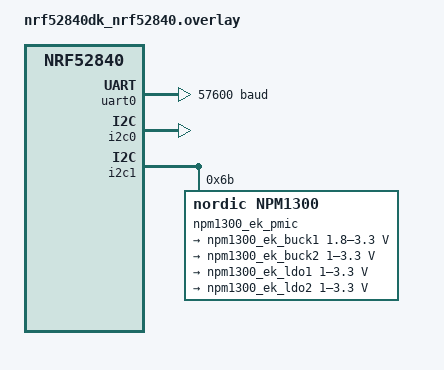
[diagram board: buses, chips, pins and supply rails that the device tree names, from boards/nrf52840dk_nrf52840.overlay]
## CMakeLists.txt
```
# SPDX-License-Identifier: Apache-2.0

cmake_minimum_required(VERSION 3.20.0)
set(BOARD_ROOT ${CMAKE_CURRENT_SOURCE_DIR})

find_package(Zephyr REQUIRED HINTS $ENV{ZEPHYR_BASE})
project(flow_meter)


target_include_directories(app PRIVATE src/Uart
                                        src/BLE
                                        src/Json
                                        src/RTC
                                        src/SYSTEM
                                        src/Timer
                                        src/PMIC
                                        src/Flash
                                        src/MESH)
                                        
target_sources(app PRIVATE  src/Uart/UartHandler.c
                            src/BLE/BleHandler.c
                            src/BLE/BleService.c
                            src/Json/cJSON.c
                            src/Json/Jsonhandler.c
                            src/RTC/RtcHandler.c
                            src/SYSTEM/SystemHandler.c
                            src/Timer/TimerHandler.c
                            src/Flash/FlashHandler.c
                            src/PMIC/PMICHandler.c
                            src/MESH/MeshHandler.c
                            src/MESH/MeshService.c
                            src/main.c)
```

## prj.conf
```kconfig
CONFIG_SERIAL=y
CONFIG_UART_INTERRUPT_DRIVEN=y
CONFIG_UART_USE_RUNTIME_CONFIGURE=y
CONFIG_CBPRINTF_FP_SUPPORT=y
CONFIG_NEWLIB_LIBC=y
CONFIG_NEWLIB_LIBC_FLOAT_PRINTF=y
CONFIG_CBPRINTF_COMPLETE=y
CONFIG_PM=y
CONFIG_PM_DEVICE=y

#I2C functions enabled
CONFIG_I2C=y

#Ble Configurations
CONFIG_BT=y
CONFIG_BT_PERIPHERAL=y
CONFIG_BT_CTLR_ADV_EXT=y
CONFIG_BT_EXT_ADV=y
CONFIG_BT_CTLR_ADV_DATA_LEN_MAX=225
CONFIG_BT_USER_DATA_LEN_UPDATE=y
CONFIG_BT_GAP_AUTO_UPDATE_CONN_PARAMS=n
CONFIG_HEAP_MEM_POOL_SIZE=12288
CONFIG_BT_BUF_ACL_RX_SIZE=488
CONFIG_BT_ATT_PREPARE_COUNT=2
CONFIG_BT_L2CAP_TX_MTU=484

CONFIG_BT_BUF_ACL_TX_COUNT=10
CONFIG_BT_BUF_ACL_TX_SIZE=488
CONFIG_BT_CTLR_DATA_LENGTH_MAX=251

#flash configurations
CONFIG_FLASH=y
CONFIG_FLASH_PAGE_LAYOUT=y

CONFIG_NVS=y
CONFIG_NRFX_TIMER1=y
CONFIG_REBOOT=y
CONFIG_MPU_ALLOW_FLASH_WRITE=y

#PMIC
CONFIG_NRF_FUEL_GAUGE=y
CONFIG_SENSOR=y
CONFIG_SENSOR_LOG_LEVEL_DBG=y

CONFIG_BT_DEVICE_NAME="VISENSE_TEST_MESH_FLOWMETER"
CONFIG_FLASH=y
CONFIG_FLASH_MAP=y
CONFIG_NVS=y
CONFIG_NVS_LOOKUP_CACHE=y
CONFIG_SETTINGS=y
CONFIG_SETTINGS_NVS_NAME_CACHE=y
CONFIG_HWINFO=y
CONFIG_DK_LIBRARY=y
CONFIG_PM_SINGLE_IMAGE=y
CONFIG_PM_PARTITION_SIZE_SETTINGS_STORAGE=0x8000
CONFIG_SOC_FLASH_NRF_PARTIAL_ERASE=y


# Bluetooth configuration
CONFIG_BT_COMPANY_ID=0x1234
CONFIG_BT_L2CAP_TX_BUF_COUNT=8
CONFIG_BT_OBSERVER=y
CONFIG_BT_SETTINGS=y

# Disable unused Bluetooth features
CONFIG_BT_CTLR_DUP_FILTER_LEN=0
CONFIG_BT_CTLR_LE_ENC=n
CONFIG_BT_PHY_UPDATE=n
CONFIG_BT_CTLR_CHAN_SEL_2=n
CONFIG_BT_CTLR_PRIVACY=n

# Bluetooth mesh configuration
CONFIG_BT_MESH=y
CONFIG_BT_MESH_RELAY=y
CONFIG_BT_MESH_FRIEND=y
CONFIG_BT_MESH_ADV_BUF_COUNT=13
CONFIG_BT_MESH_TX_SEG_MAX=22
CONFIG_BT_MESH_RX_SEG_MAX=22
CONFIG_BT_MESH_PB_GATT=y
CONFIG_BT_MESH_GATT_PROXY=y
CONFIG_BT_MESH_PROXY_USE_DEVICE_NAME=y
CONFIG_BT_MESH_DK_PROV=y
CONFIG_BT_MESH_SUBNET_COUNT=2
CONFIG_BT_MESH_APP_KEY_COUNT=3
CONFIG_BT_MESH_CRPL=10
CONFIG_BT_MESH_MSG_CACHE_SIZE=32

CONFIG_BT_MESH_RELAY_RETRANSMIT_COUNT=2
CONFIG_BT_MESH_TX_SEG_MSG_COUNT=5
CONFIG_BT_MESH_RX_SEG_MSG_COUNT=5



CONFIG_BT_MESH_MODEL_KEY_COUNT=1
CONFIG_BT_MESH_MODEL_GROUP_COUNT=1
CONFIG_BT_MESH_APP_KEY_COUNT=3
CONFIG_BT_MESH_SEG_BUFS=7168
```

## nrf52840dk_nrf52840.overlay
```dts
// To get started, press Ctrl+Space to bring up the completion menu and view the available nodes.

// You can also use the buttons in the sidebar to perform actions on nodes.
// Actions currently available include:

// * Enabling / disabling the node
// * Adding the bus to a bus
// * Removing the node
// * Connecting ADC channels

// For more help, browse the DeviceTree documentation at https://docs.zephyrproject.org/latest/guides/dts/index.html
// You can also visit the nRF DeviceTree extension documentation at https://nrfconnect.github.io/vscode-nrf-connect/devicetree/nrfdevicetree.html
&uart0 {
	compatible = "nordic,nrf-uarte";
	status = "okay";
	current-speed = <57600>;
	pinctrl-0 = <&uart0_default>;
	pinctrl-1 = <&uart0_sleep>;
	pinctrl-names = "default", "sleep";
};

&i2c0 {
	compatible = "nordic,nrf-twi";
	status = "okay";
	pinctrl-0 = <&i2c0_default>;
	pinctrl-1 = <&i2c0_sleep>;
	pinctrl-names = "default", "sleep";
};
```

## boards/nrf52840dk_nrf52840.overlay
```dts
// To get started, press Ctrl+Space to bring up the completion menu and view the available nodes.

// You can also use the buttons in the sidebar to perform actions on nodes.
// Actions currently available include:

// * Enabling / disabling the node
// * Adding the bus to a bus
// * Removing the node
// * Connecting ADC channels

// For more help, browse the DeviceTree documentation at https://docs.zephyrproject.org/latest/guides/dts/index.html
// You can also visit the nRF DeviceTree extension documentation at https://nrfconnect.github.io/vscode-nrf-connect/devicetree/nrfdevicetree.html
&uart0 {
	compatible = "nordic,nrf-uarte";
	status = "okay";
	current-speed = <57600>;
	pinctrl-0 = <&uart0_default>;
	pinctrl-1 = <&uart0_sleep>;
	pinctrl-names = "default", "sleep";
};

&i2c0 {
	compatible = "nordic,nrf-twi";
	status = "okay";
	pinctrl-0 = <&i2c0_default>;
	pinctrl-1 = <&i2c0_sleep>;
	pinctrl-names = "default", "sleep";
};

&i2c1 {
	status = "okay"; 
	npm1300_ek_pmic: pmic@6b {
		compatible = "nordic,npm1300";
		reg = <0x6b>;

		npm1300_ek_gpio: gpio-controller {
			compatible = "nordic,npm1300-gpio";
			gpio-controller;
			#gpio-cells = <2>;
			ngpios = <5>;
		};

		npm1300_ek_regulators: regulators {
			compatible = "nordic,npm1300-regulator";

			/* limits are set to min/max allowed values */
			npm1300_ek_buck1: BUCK1 {
				regulator-min-microvolt = <1800000>;
				regulator-max-microvolt = <3300000>;
			};

			npm1300_ek_buck2: BUCK2 {
				regulator-min-microvolt = <1000000>;
				regulator-max-microvolt = <3300000>;
				regulator-init-microvolt = <3300000>;
				retention-microvolt = <2500000>;
				enable-gpios = <&npm1300_ek_gpio 1 GPIO_ACTIVE_LOW>;
				retention-gpios = <&npm1300_ek_gpio 2 GPIO_ACTIVE_HIGH>;
				pwm-gpios = <&npm1300_ek_gpio 2 GPIO_ACTIVE_LOW>;
			};

			npm1300_ek_ldo1: LDO1 {
				regulator-min-microvolt = <1000000>;
				regulator-max-microvolt = <3300000>;
				enable-gpios = <&npm1300_ek_gpio 2 GPIO_ACTIVE_LOW>;
			};

			npm1300_ek_ldo2: LDO2 {
				regulator-min-microvolt = <1000000>;
				regulator-max-microvolt = <3300000>;
				enable-gpios = <&npm1300_ek_gpio 2 GPIO_ACTIVE_LOW>;
			};
		};

		npm1300_ek_charger: charger {
			compatible = "nordic,npm1300-charger";
			
			term-microvolt = <4150000>;
			term-warm-microvolt = <4000000>;
			current-microamp = <150000>;
			dischg-limit-microamp = <1000000>;
			vbus-limit-microamp = <500000>;
			thermistor-ohms = <10000>;
			thermistor-beta = <3380>;
			charging-enable;
		};
	};
};
```

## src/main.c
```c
/**
 * @file   main.c
 * @brief  This is a GPSTracker application
 * @date   15-10-2023
 * @author Adhil
*/

/************************INCLUDES***************************/
#include "UartHandler.h"
#include "BleHandler.h"
#include "BleService.h"
#include "JsonHandler.h"
#include "TimerHandler.h"
#include "FlashHandler.h"
#include "SystemHandler.h"
#include "PMIC/PMICHandler.h"
#include "Common.h"
#include "MeshHandler.h"

/*************************MACROS****************************/
//#define SLEEP_ENABLE  //Uncomment this line to enable sleep functionality
#define TIME_STAMP_ERROR   (1<<1)
#define TIME_STAMP_OK      ~(1<<1)
/*************************TYPEDEFS***************************/

/*************************GLOBALS***************************/
cJSON *pcData = NULL;
uint8_t ucNotifyBuffer[210];
int32_t lDiagnosticdata = 0; 
_sConfigData sConfigData = {0};
struct nvs_fs fs;    //file system
struct nvs_fs sConfigFs;
uint32_t ulFlashIdx = 0;  // initialise data counter

/*************************FUNTION DECLARATION*****************/
static bool InitPowerManager();
static void InitDataPartition();
static bool InitBle();
static void PrintBanner();
static bool InitAllModules();
static bool WriteConfiguredtimeToRTC(void);
static bool GetTimeFromRTC();
static bool UpdateConfigurations();
static bool CheckForConfigChange();
static void SendConfigDataToApp();
static bool SendHistoryDataToApp(char *pcBuffer, uint16_t unLength);

/*************************FUNTION DEFINITION*****************/
/**
 * @brief  main function
 * @param  None
 * @return 0 on exit
*/
int main(void)
{
	int Ret = 0;
	long long TimeNow = 0, llEpochNow;
	uint8_t ucIdx = 0;
	uint8_t *pucAdvBuffer = NULL;
	char *cJsonBuffer = NULL;
    char cFlashReadBuf[350];
	char cBuffer[30];
#ifdef PMIC_ENABLED    
    float fSOC = 0.0;
#endif    
    char *pcEnd = NULL;
	double dFlowRate = 0.0;
    cJSON * pMainObject = NULL;

	PrintBanner();
    printk("VISENSE_FLOWMTR_FIRMWARE_VERSION: %s\n\r", VISENSE_FLOWMTR_FIRMWARE_VERSION);
    k_msleep(1000);
    printk("FEATURES: %s", VISENSE_FLOWMTR_FEATURES);
    k_msleep(1000);
    printk("\n\r");

	if (!InitAllModules())
    {
        printk("ERROR: Initialising all modules failed \n\r");
    }

    // if (!CheckForConfigChange())
    // {
    //     printk("ERROR: Config check failed\n\r");
    // }    

    if (!GetTimeFromRTC())
    {
        printk("WARN: Getting time from RTC failed\n\r");
    }

	while(1)
	{
	#ifdef SLEEP_ENABLE	
		TimeNow = sys_clock_tick_get();

		while(sys_clock_tick_get() - TimeNow < (ALIVE_TIME * TICK_RATE))
		{
	#endif		
            if (UpdateConfigurations())
            {
                printk("INFO: Updating config \n\r");           
            }

            WriteConfiguredtimeToRTC();
            SendConfigDataToApp();

			pMainObject = cJSON_CreateObject();
			memset(ucNotifyBuffer, 0, ADV_BUFF_SIZE);
			ucNotifyBuffer[0] = FLOW_METER;

			if (IsRxComplete())
			{
				strcpy(cBuffer, GetFlowRate());
                printk("flowrate test %s\n\r", cBuffer);
                //dFlowRate = strtod(cBuffer, pcEnd);
                //sscanf( cBuffer, "$Flowrate: %f", &dFlowRate);
                pcEnd = strchr(cBuffer, ':');
                pcEnd = pcEnd+2;
                strcpy(cBuffer, pcEnd);
                
                //printk("double value: %s\n\r",cBuffer);
				dFlowRate = atof(cBuffer);
                printk("flow: %f\n\r",dFlowRate);
                if (dFlowRate <= GetMinGPM())
                {
                    printk("WARN: flowrate is below minGPM\n\r");
                }
				memset(cBuffer, 0, sizeof(cBuffer));
				sprintf(cBuffer, "%f", dFlowRate);
                
				AddItemtoJsonObject(&pMainObject, NUMBER_FLOAT, "FlowRate", &dFlowRate, sizeof(float));
				SetRxStatus(false);
			}
            else
            {
                printk("Not ecieved data from msp\n\r");
            }

			if (GetCurrentTime(&llEpochNow))
			{
				AddItemtoJsonObject(&pMainObject, NUMBER_INT, "TS", &llEpochNow, sizeof(long long));
			}
#ifdef PMIC_ENABLED            
			PMICUpdate(&fSOC);
            memset(cBuffer, '\0', sizeof(cBuffer));
            printk("soc=%f\n\r", fSOC);
            sprintf(cBuffer,"%d%%", (int)fSOC);
            AddItemtoJsonObject(&pMainObject, STRING, "Batt", cBuffer, sizeof(float));
#endif            
			cJsonBuffer = cJSON_Print(pMainObject);
            SendHistoryDataToApp(cJsonBuffer, strlen(cJsonBuffer));

			strcpy((char *)ucNotifyBuffer+2, cJsonBuffer);
			ucNotifyBuffer[1] = (uint8_t)strlen((char *)ucNotifyBuffer+2);
			printk("packet:%s\n\r", (char *)ucNotifyBuffer);

			if(IsNotificationenabled())
			{
				VisenseSensordataNotify(ucNotifyBuffer, ADV_BUFF_SIZE);
			}
            else if (!IsConnected() && !IsNotificationenabled() && !IsSupervisorLiveNotifyEnable())
			{
				writeJsonToExternalFlash(cJsonBuffer, ulFlashIdx, WRITE_ALIGNMENT);
				readJsonFromExternalFlash(cFlashReadBuf, ulFlashIdx, WRITE_ALIGNMENT);
				printk("\n\rcFlash read%s\n\r", cFlashReadBuf);
				ulFlashIdx++;
				printk("flash count: %d\n\r", ulFlashIdx);
			}
            if (IsSupervisorLiveNotifyEnable())
            {
                if (SendLiveDataToSupervisor(cJsonBuffer, strlen(cJsonBuffer)))
                {
                    printk("INFO: LiveData sent to Supervisor\n\r");
                }
                
            }

			cJSON_Delete(pMainObject);
			cJSON_free(cJsonBuffer);
			k_msleep(200);
		#ifdef SLEEP_ENABLE	
		}
		EnterSleepMode(GetSleepTime());
        ExitSleepMode();
        //printk("INFO: Syncing time with RTC\n\r");
        if (!GetTimeFromRTC())
        {
            printk("WARN: Getting time from RTC failed\n\r");
        }
		#else
			k_msleep(1000);
		#endif
	}

	return 0;
}

/**
 * @brief initialise data partitions
 * @param None
 * @return None
*/
static void InitDataPartition()
{
    // nvs_initialisation(&fs, DATA_FS); 
    SetFileSystem(&fs);
}

/**
 * @brief Initialise power manager module
 * @param None
 * @return true for success
*/
static bool InitPowerManager()
{
    bool bRetVal = false;

    bRetVal = SetPMState();

    return bRetVal;
}

/**
 * @brief Initialise BLE functions
 * @param None
 * @return true for success
*/
static bool InitBle()
{
    bool bRetVal = false;
    int nError = 0;

    do
    {

        if (!EnableBLE())
        {
            printk("Bluetooth init failed (err %d)\n", nError);
            break;
        }
        // nError = StartAdvertising();
        if (nError)
        {
            printk("Advertising failed to create (err %d)\n", nError);
            break;
        }
        bRetVal = true;
    } while (0);
    
    return bRetVal;
}

/**
 * @brief Init all modules RTC, BLE,.. etc
 * @param None
 * @return true for success
*/
static bool InitAllModules()
{
    bool bRetVal = false;

    do
    {
		if(!InitPowerManager()) 
		{
			printk("ERROR: Init PM failed\n\r");
			break;
		}
#ifdef PMIC_ENABLED        
        PMICInit();
#endif        
		InitTimer();
		k_sleep(K_TICKS(100));

		// InitDataPartition();

		if (!InitUart())
		{
			printk("Device not initialised\n\r");
			break;
		}

		if (!InitBle())
		{
			printk("ERROR: Init BLE failed\n\r");
			break;       
		}
		bRetVal = true;
    } while (0);
    
    return bRetVal;
}

/**
 * @brief Getting time from RTC
 * @param None
 * @return true for success
*/
static bool GetTimeFromRTC()
{
    long long llEpochNow = 0;
    bool bRetVal = false;

    if (GetCurrenTimeInEpoch(&llEpochNow))
    {
        printk("CurrentTime=%llu\n\r", llEpochNow);
        SetCurrentTime(llEpochNow);
		/*Need to add the diagnostics here*/
        // lDiagnosticdata = lDiagnosticdata & TIME_STAMP_OK;
        bRetVal = true;
    }
    else
    {
        //lDiagnosticdata = lDiagnosticdata | TIME_STAMP_ERROR;
    }

    return bRetVal;
}

/**
 * @brief Check for config change and update value from flash
 * @param None
 * @return true for success
*/
static bool CheckForConfigChange()
{
    uint32_t ulRetCode = 0;
    bool bRetVal = false;
    uint32_t *uFlashIdx = NULL;

    uFlashIdx = GetFlashCounter();
    nvs_initialisation(&sConfigFs, CONFIG_DATA_FS); 
    k_msleep(100);
    ulRetCode = readJsonToFlash(&sConfigFs, 0, 0, (char *)&sConfigData, sizeof(sConfigData)); // read config params from the flash
    if(sConfigData.flag == 0) 
    {
        printk("\n\rError occured while reading config data: %d\n", ulRetCode);
        EraseExternalFlash(SECTOR_COUNT);
       // lDiagnosticdata = lDiagnosticdata | (1<<4); // flag will shows error while reading config data from flash and added to the application
    }
    else
    {
        SetSleepTime(sConfigData.sleepTime);
        *uFlashIdx = sConfigData.flashIdx;
        printk("sConfigFlag %d ,flashIdx = %d\n",
                                     sConfigData.flag,
                                     sConfigData.flashIdx); //get all the config params from the flash if a reboot occures

        bRetVal = true;
    }

    return bRetVal;
}

/**
 * @brief Sending history data over ble
 * @param pcBuffer : data to send
 * @param unLength : Length of data
 * @return None
*/
static bool SendHistoryDataToApp(char *pcBuffer, uint16_t unLength)
{

    char cBuffer[ADV_BUFF_SIZE];
    bool bRetval = false;
    uint32_t *uFlashIdx = NULL;

    uFlashIdx = GetFlashCounter();


    if (pcBuffer)
    {
        if(!IsConnected()) // && sConfigData.flag & (1 << 4) can include this condition also if config is mandetory during initial setup
        {
            
            memset(cBuffer, '\0', sizeof(cBuffer));
            memcpy(cBuffer, pcBuffer, unLength);
            if(writeJsonToExternalFlash(cBuffer, *uFlashIdx,WRITE_ALIGNMENT))
            {
                // NO OP
            }
            k_msleep(50);
            if (readJsonFromExternalFlash(cBuffer, *uFlashIdx, WRITE_ALIGNMENT))
            {
                printk("\nId: %d, Stored_Data: %s\n",*uFlashIdx, cBuffer);
            }
            *uFlashIdx = *uFlashIdx + 1;
            sConfigData.flashIdx = *uFlashIdx;
            nvs_write(&sConfigFs, 0, (char *)&sConfigData, sizeof(_sConfigData));
            if(*uFlashIdx>= NUMBER_OF_ENTRIES)
            {
                *uFlashIdx = 0;
            }
        }
 

        // if(IshistoryNotificationenabled() && IsConnected())
        // {
        //     VisenseHistoryDataNotify();
        //     *uFlashIdx = 0; 
        // }

        bRetval = true;
    }

    return bRetval;
}

/**
 * @brief Write the configured time from BLE to RTC
 * @param None
 * @return true for success
*/
static bool WriteConfiguredtimeToRTC(void)
{
    bool bRetVal = false;
    int RetCode = 0;

    if (GetTimeUpdateStatus())
    {
        if (InitRtc())
        {
            SetTimeUpdateStatus(false); 
            sConfigData.flag = sConfigData.flag | (1 << 4); //set flag for timestamp config data update and store it into flash
            RetCode = nvs_write(&sConfigFs, 0, (char *)&sConfigData, sizeof(_sConfigData));
            if(RetCode < 0)
            {
                lDiagnosticdata = lDiagnosticdata | (1<<4);
            }
            else
            {
                lDiagnosticdata = lDiagnosticdata & (~(1<<4));
                lDiagnosticdata = lDiagnosticdata & TIME_STAMP_OK;
                printk("Time updated\n");
                bRetVal = true;
            }
        }
        else
        {
            printk("WARN: Check RTC is connected\n\r");
            SetTimeUpdateStatus(false); 
            lDiagnosticdata = lDiagnosticdata | TIME_STAMP_ERROR;
        }
    }

    return bRetVal;
}

/**
 * @brief send config data to application over ble
 * @param None
 * @return None
*/
static void SendConfigDataToApp()
{
    cJSON *pConfigObject = NULL;
    char *cJsonConfigBuffer = NULL;
    uint32_t ulSleepTime = 0;
    double dGPM=0.00;
    char cBuffer[30] =  {0};

    pConfigObject = cJSON_CreateObject();
    ulSleepTime = GetSleepTime();
    dGPM = GetMinGPM();
    strcpy(cBuffer, VISENSE_FLOWMTR_FIRMWARE_VERSION);
    AddItemtoJsonObject(&pConfigObject, STRING, "VERSION", cBuffer, strlen(cBuffer));
    memset(cBuffer, 0, sizeof(cBuffer));
    sprintf(cBuffer, "%ds", ulSleepTime);
    AddItemtoJsonObject(&pConfigObject, STRING, "Sleep", cBuffer, strlen(cBuffer));
    memset(cBuffer, 0, sizeof(cBuffer));
    sprintf(cBuffer, "%fGPM", dGPM);
    AddItemtoJsonObject(&pConfigObject, STRING, "GPM", cBuffer, strlen(cBuffer));
    cJsonConfigBuffer = cJSON_Print(pConfigObject);

    printk("ConfigJSON:\n%s\n", cJsonConfigBuffer);

    if (IsConfigNotifyEnabled())
    {
        VisenseConfigDataNotify(cJsonConfigBuffer, (uint16_t)strlen(cJsonConfigBuffer));
    }

    cJSON_free(cJsonConfigBuffer);
    cJSON_Delete(pConfigObject);
}

/**
 * @brief Update Configurations if any config value is written via Ble
 * @param None
 * @return true for success
*/
static bool UpdateConfigurations()
{
    uint32_t ulRetCode = 0;
    bool bRetVal = false;

    if (IsSleepTimeSet())
    {
        sConfigData.sleepTime = GetSleepTime();
        SetSleepTimeSetStataus(false);
        sConfigData.flag = sConfigData.flag | (1 << 0); //set flag for config data update and store it into flash

        do
        {
            ulRetCode = nvs_write(&sConfigFs, 0, (char *)&sConfigData, sizeof(_sConfigData));

            if (ulRetCode < 0)
            {
                printk("ERROR: Write failed with ret code:%d\n", ulRetCode);
                break;
            }

            k_msleep(100);
            ulRetCode = nvs_read(&sConfigFs, 0, (char *)&sConfigData, sizeof(_sConfigData));

            if (ulRetCode < 0)
            {
                printk("ERROR: Write failed with ret code:%d\n", ulRetCode);
                break;
            }
            bRetVal = true;
        } while (0);
    }

    return bRetVal;
}

/**
 * @brief  printing visense banner
 * @param  None
 * @return None
*/
static void PrintBanner()
{
    printk("\n\r");
    printk("'##::::'##:'####::'######::'########:'##::: ##::'######::'########:\n\r");
    k_msleep(50);
    printk("##:::: ##:. ##::'##... ##: ##.....:: ###:: ##:'##... ##: ##.....::\n\r");
    k_msleep(50);
    printk("##:::: ##:: ##:: ##:::..:: ##::::::: ####: ##: ##:::..:: ##:::::::\n\r");
    k_msleep(50);
    printk("##:::: ##:: ##::. ######:: ######::: ## ## ##:. ######:: ######:::\n\r");
    k_msleep(50);
    printk(". ##:: ##::: ##:::..... ##: ##...:::: ##. ####::..... ##: ##...::::\n\r");
    k_msleep(50);
    printk(":. ## ##:::: ##::'##::: ##: ##::::::: ##:. ###:'##::: ##: ##:::::::\n\r");
    k_msleep(50);
    printk("::. ###::::'####:. ######:: ########: ##::. ##:. ######:: ########:\n\r");
    k_msleep(50);
    printk(":::...:::::....:::......:::........::..::::..:::......:::........::\n\r");
    k_msleep(50);
    printk("\n\r");
}
```

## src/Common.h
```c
/**
 * @file    : Common.h 
 * @brief   : File containing common headers version 
 * @author  : Adhil
 * @date    : 30-10-2023
 * @note 
*/

#ifndef _COMMON_H
#define _COMMON_H

/***************************************INCLUDES*********************************/

/***************************************MACROS**********************************/
#define VISENSE_FLOWMTR_FIRMWARE_VERSION     "0.0.1"
#define VISENSE_FLOWMTR_FEATURES             "Live data updation of flowrate\n\r\t  Supports RTC\n\r\t" 

#endif
```
